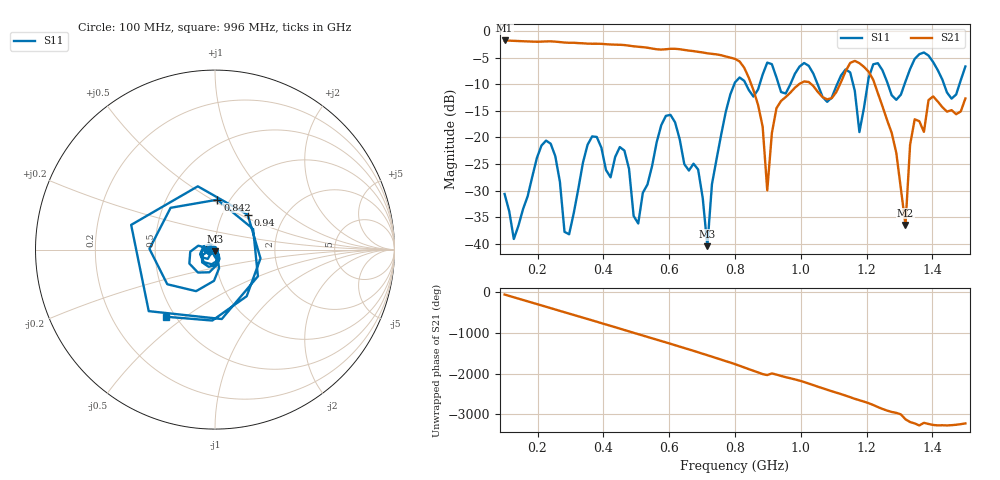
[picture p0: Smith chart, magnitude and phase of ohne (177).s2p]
! NanoVNA-App
! Date: 2025-09-25 14:22:10
! Start: 100MHz Stop: 1,5GHz Points: 101
! S-Parameter data: F S11 S21 S12 S22
# Hz S RI R 50
!  Frequency  S11_Real  S11_Imag  S21_Real  S21_Imag  S12_Real  S12_Imag  S22_Real  S22_Imag
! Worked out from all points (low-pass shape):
!   101 points, 100 MHz to 1.5 GHz, reference 50 ohm
!   highest |S21| = -1.79 dB at 100 MHz (marker M1); lowest = -36.5 dB at 1.318 GHz (marker M2)
!   |S21| within 3 dB of the highest: start of sweep to 771.3 MHz
!   lowest |S11| = -40.4 dB at 716 MHz (marker M3), VSWR 1.02, Z = 49.9 - j0.937 ohm
!   |S11| at or under -10 dB: start of sweep to 797.9 MHz; 833 MHz to 875 MHz (42 MHz wide, 4.92 % of centre); 1.051 GHz to 1.11 GHz (59.62 MHz wide, 5.52 % of centre) (the widest 3 of 7)
!   S12 and S22 are empty: the file has one direction only
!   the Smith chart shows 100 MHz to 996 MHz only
!   S11 on the Smith chart (normalised r, x): 100 MHz: 0.94, -0.01; 842 MHz: 0.88, +0.53; 940 MHz: 1.31, +0.55; 996 MHz: 0.45, -0.43
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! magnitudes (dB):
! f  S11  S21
! 100 MHz  -30.6  -1.8
! 128 MHz  -39.1  -1.9
! 226 MHz  -20.6  -2.0
! 296 MHz  -38.2  -2.2
! 338 MHz  -24.8  -2.3
! 464 MHz  -22.5  -2.7
! 506 MHz  -36.2  -3.0
! 576 MHz  -17.7  -3.5
! 688 MHz  -26.0  -3.9
! 716 MHz  -40.4  -4.2
! 800 MHz  -9.7  -5.3
! 842 MHz  -11.1  -8.8
! 898 MHz  -6.0  -30.0
! 940 MHz  -11.5  -13.1
! 996 MHz  -6.7  -9.9
! 1.038 GHz  -8.0  -10.3
! 1.178 GHz  -19.0  -6.1
! 1.22 GHz  -6.3  -9.2
! 1.276 GHz  -12.1  -19.1
! 1.318 GHz  -9.5  -36.5
! 1.346 GHz  -5.3  -16.6
! 1.5 GHz  -6.7  -12.7
